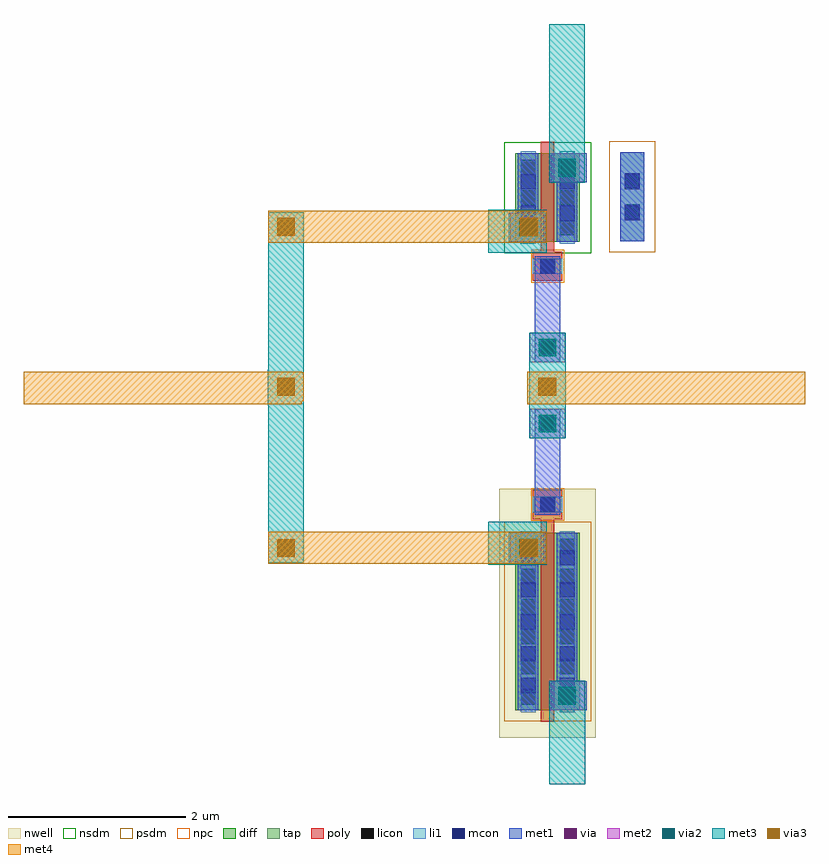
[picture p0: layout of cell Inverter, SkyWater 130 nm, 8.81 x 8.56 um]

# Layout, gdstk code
from math import pi, radians
import gdstk
lib = gdstk.Library(unit=1e-6, precision=1e-09)
def R(c, l, rs):  # rectangles x0, y0, x1, y1
    for r in rs: c.add(gdstk.rectangle(r[:2], r[2:], *l))
def A(c, l, x, y, w, h, nx, ny, dx, dy):  # array of equal rectangles
    R(c, l, [(x+i*dx, y+j*dy, x+i*dx+w, y+j*dy+h) for i in range(nx) for j in range(ny)])
def P(c, l, *ps):  # polygons
    for p in ps: c.add(gdstk.Polygon(p, *l))
nwell = (64, 20)
diff = (65, 20)
tap = (65, 44)
poly = (66, 20)
licon = (66, 44)
li1 = (67, 20)
mcon = (67, 44)
met1 = (68, 20)
via = (68, 44)
met2 = (69, 20)
via2 = (69, 44)
met3 = (70, 20)
via3 = (70, 44)
met4 = (71, 20)
nsdm = (93, 44)
psdm = (94, 20)
npc = (95, 20)

via_new_2 = lib.new_cell('via_new$2')
R(via_new_2, licon, [(0.245,-0.085,0.415,0.085), (0.585,-0.085,0.755,0.085)])
R(via_new_2, mcon, [(0.235,-0.085,0.405,0.085), (0.595,-0.085,0.765,0.085)])
via_new_2.add(gdstk.FlexPath([(0,0),(1,0)], 0.27, ends="flush", simple_path=True, layer=67, datatype=20))  # li1
via_new_2.add(gdstk.FlexPath([(0,0),(1,0)], 0.27, ends="flush", simple_path=True, layer=68, datatype=20))  # met1
via_new_2.add(gdstk.FlexPath([(-0.125,0),(1.125,0)], 0.52, ends="flush", simple_path=True, layer=94, datatype=20))  # psdm
via_new_2.add(gdstk.FlexPath([(0,0),(1,0)], 0.27, ends="flush", simple_path=True, layer=65, datatype=44))  # tap

inverter = lib.new_cell('Inverter')
R(inverter, nwell, [(0.897,-1.49,1.987,1.32)])
R(inverter, diff, [(1.077,-1.18,1.807,0.82), (1.077,4.099,1.807,5.099)])
R(inverter, poly, [(1.367,-1.31,1.517,0.975), (1.277,0.975,1.607,1.305), (1.277,3.659,1.607,3.989), (1.367,3.989,1.517,5.229)])
A(inverter, licon, 1.137, -1.115, 0.17, 0.17, 1, 6, 0, 0.34)
A(inverter, licon, 1.577, -1.115, 0.17, 0.17, 1, 6, 0, 0.34)
A(inverter, licon, 1.137, 4.174, 0.17, 0.17, 1, 3, 0, 0.34)
A(inverter, licon, 1.577, 4.174, 0.17, 0.17, 1, 3, 0, 0.34)
R(inverter, licon, [(1.357,1.055,1.527,1.225), (1.357,3.739,1.527,3.909)])
R(inverter, li1, [(1.137,-1.2,1.307,0.84), (1.577,-1.2,1.747,0.84), (1.277,1.055,1.607,1.225), (1.277,3.739,1.607,3.909), (1.137,4.079,1.307,5.119), (1.577,4.079,1.747,5.119)])
A(inverter, mcon, 1.137, -0.985, 0.17, 0.17, 1, 5, 0, 0.36)
A(inverter, mcon, 1.577, -0.985, 0.17, 0.17, 1, 5, 0, 0.36)
R(inverter, mcon, [(1.357,1.055,1.527,1.225), (1.357,3.739,1.527,3.909), (1.137,4.334,1.307,4.504), (1.577,4.334,1.747,4.504), (1.137,4.694,1.307,4.864), (1.577,4.694,1.747,4.864)])
R(inverter, met1, [(1.547,-1.18,1.777,0.82), (1.297,1.024,1.587,2.218), (1.297,2.745,1.587,3.939)])
P(inverter, met1, [(1.002,4.099),(1.002,4.429),(1.107,4.429),(1.107,5.099),(1.337,5.099),(1.337,4.429),(1.402,4.429),(1.402,4.099)],
  [(1.547,4.099),(1.547,4.769),(1.482,4.769),(1.482,5.099),(1.882,5.099),(1.882,4.769),(1.777,4.769),(1.777,4.099)],
  [(1.107,-1.18),(1.107,0.49),(1.002,0.49),(1.002,0.82),(1.402,0.82),(1.402,0.49),(1.337,0.49),(1.337,-1.18)],
  [(1.482,-1.18),(1.482,-0.85),(1.547,-0.85),(1.547,0.82),(1.777,0.82),(1.777,-0.85),(1.882,-0.85),(1.882,-1.18)])
R(inverter, via, [(1.587,-1.09,1.737,-0.94), (1.147,0.58,1.297,0.73), (1.367,1.978,1.517,2.128), (1.367,2.835,1.517,2.985), (1.127,4.189,1.277,4.339), (1.607,4.859,1.757,5.009), (1.607,4.859,1.757,5.009)])
R(inverter, via2, [(1.562,-1.115,1.762,-0.915), (1.122,0.555,1.322,0.755), (1.342,1.953,1.542,2.153), (1.342,2.81,1.542,3.01), (1.122,4.164,1.322,4.364), (1.562,4.834,1.762,5.034)])
R(inverter, met3, [(1.46,-2.01,1.867,-0.844), (0.771,3.976,1.43,4.461), (1.462,4.768,1.863,6.555)])
P(inverter, met3, [(0.771,0.462),(0.771,0.947),(1.404,0.947),(1.422,0.947),(1.43,0.947),(1.43,0.462),(1.03,0.462),(1.03,0.462)],
  [(-1.709,0.485),(-1.709,2.258),(-1.71,2.258),(-1.71,2.66),(-1.709,2.66),(-1.709,4.432),(-1.707,4.432),(-1.707,4.436),(-1.307,4.436),(-1.307,4.106),(-1.308,4.106),(-1.308,0.816),(-1.307,0.816),(-1.307,0.486),(-1.308,0.486),(-1.308,0.485)],
  [(1.234,1.884),(1.234,2.36),(1.234,2.36),(1.234,2.638),(1.234,2.638),(1.234,3.075),(1.647,3.075),(1.647,2.702),(1.647,2.702),(1.647,2.283),(1.647,2.283),(1.647,1.884)])
R(inverter, via3, [(-1.607,0.551,-1.407,0.751), (1.13,0.551,1.33,0.751), (-1.607,2.367,-1.407,2.567), (1.338,2.367,1.538,2.567), (-1.607,4.171,-1.407,4.371), (1.13,4.171,1.33,4.371)])
R(inverter, met4, [(-1.707,0.47,1.43,0.832), (-4.464,2.272,-1.327,2.634), (1.211,2.272,4.348,2.634), (-1.707,4.09,1.43,4.452)])
R(inverter, nsdm, [(0.952,3.974,1.932,5.224)])
R(inverter, psdm, [(0.952,-1.305,1.932,0.945)])
R(inverter, npc, [(1.257,0.955,1.627,1.325), (1.257,3.639,1.627,4.009)])
inverter.add(gdstk.FlexPath([(1.882,4.934),(1.482,4.934)], 0.33, ends="flush", simple_path=True, layer=68, datatype=20))  # met1
inverter.add(gdstk.FlexPath([(1.642,2.91),(1.242,2.91)], 0.33, ends="flush", simple_path=True, layer=69, datatype=20))  # met2
inverter.add(gdstk.FlexPath([(1.642,2.053),(1.242,2.053)], 0.33, ends="flush", simple_path=True, layer=69, datatype=20))  # met2
inverter.add(gdstk.FlexPath([(1.862,-1.015),(1.462,-1.015)], 0.33, ends="flush", simple_path=True, layer=69, datatype=20))  # met2
inverter.add(gdstk.FlexPath([(1.422,0.655),(1.022,0.655)], 0.33, ends="flush", simple_path=True, layer=69, datatype=20))  # met2
inverter.add(gdstk.FlexPath([(1.862,4.934),(1.462,4.934)], 0.33, ends="flush", simple_path=True, layer=69, datatype=20))  # met2
inverter.add(gdstk.FlexPath([(1.022,4.264),(1.422,4.264)], 0.33, ends="flush", simple_path=True, layer=69, datatype=20))  # met2
inverter.add(gdstk.FlexPath([(1.642,2.91),(1.242,2.91)], 0.33, ends="flush", simple_path=True, layer=69, datatype=20))  # met2
inverter.add(gdstk.FlexPath([(1.43,0.651),(1.03,0.651)], 0.33, ends="flush", simple_path=True, layer=71, datatype=20))  # met4
inverter.add(gdstk.FlexPath([(1.43,4.271),(1.03,4.271)], 0.33, ends="flush", simple_path=True, layer=71, datatype=20))  # met4
inverter.add(gdstk.FlexPath([(-1.307,4.271),(-1.707,4.271)], 0.33, ends="flush", simple_path=True, layer=71, datatype=20))  # met4
inverter.add(gdstk.FlexPath([(-1.307,0.651),(-1.707,0.651)], 0.33, ends="flush", simple_path=True, layer=71, datatype=20))  # met4
inverter.add(gdstk.FlexPath([(-1.307,4.271),(-1.707,4.271)], 0.33, ends="flush", simple_path=True, layer=71, datatype=20))  # met4
inverter.add(gdstk.FlexPath([(-1.307,2.467),(-1.707,2.467)], 0.33, ends="flush", simple_path=True, layer=71, datatype=20))  # met4
inverter.add(gdstk.FlexPath([(-1.307,2.467),(-1.707,2.467)], 0.33, ends="flush", simple_path=True, layer=71, datatype=20))  # met4
inverter.add(gdstk.FlexPath([(1.638,2.467),(1.238,2.467)], 0.33, ends="flush", simple_path=True, layer=71, datatype=20))  # met4
inverter.add(gdstk.FlexPath([(1.638,2.467),(1.238,2.467)], 0.33, ends="flush", simple_path=True, layer=71, datatype=20))  # met4
inverter.add(gdstk.Reference(via_new_2, (2.397,5.108), rotation=3*pi/2))

lib.write_gds('Inverter.gds')
